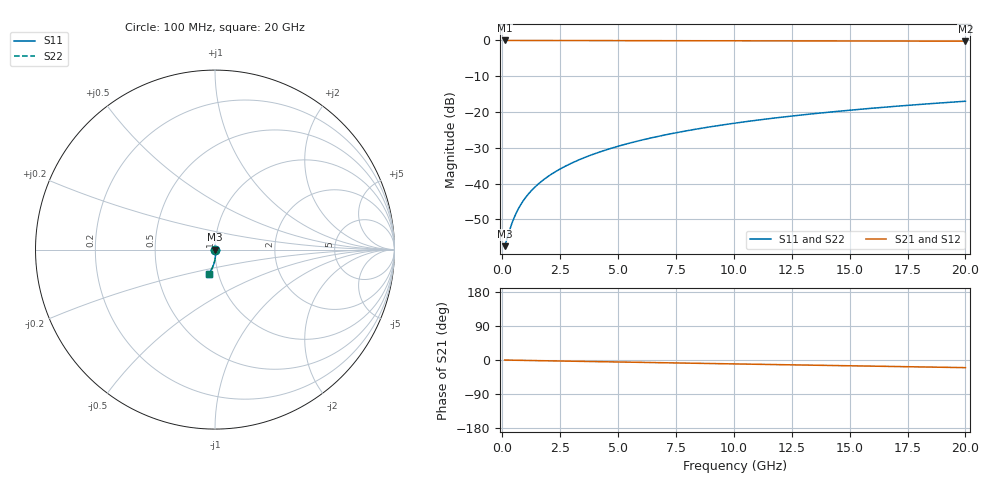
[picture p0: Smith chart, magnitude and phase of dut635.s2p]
! Touchstone file exported from HFSS 2026.1.0
!  File:  C:/ffzhzh/LocalFiles/Ansys_Project_Files/temp_train_TMRDL_635_1783009238_51716.aedt
!  Generated:  12:21:48 AM Jul  3, 2026
!  Design:  TMRDL
!  Project:  temp_train_TMRDL_635_1783009238_51716
! Variables:
!  h_bsmrdl = 2um
!  h_ox = 20um
!  h_rdl = 5um
!  h_sub = 80um
!  h_tmrdl = 4.56um
!  h_tsv = 80um
!  h_via = 3um
!  l_bsmrdl = 300um
!  l_sub = 721.24um
!  l_tmrdl = 321.24um
!  m_sub = 200um
!  pitch = 25.38um
!  r_tsv = 6um
!  s_tmrdl = 10um
!  w_bsmrdl = 18um
!  w_sub = 500um
!  w_tmrdl = 23.7um
!  x_tsv_center1 = 333.09um
!  x_tsv_center2 = 651.09um
!  x_tsv_center3 = 996.03um
!  x_tsv_center4 = 1314.03um
!  x_tsv_center5 = 1658.97um
!  x_tsv_center6 = 1976.97um
# GHz S MA R 50.000000
! Terminal data exported
! Port[1] = TM_RDL1_1_T1
! Port[2] = TM_RDL1_1_T2
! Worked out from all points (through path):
!   200 points, 100 MHz to 20 GHz, reference 50 ohm
!   highest |S21| = -0.01 dB at 100 MHz (marker M1); lowest = -0.2 dB at 20 GHz (marker M2)
!   group delay of S21, straight-line fit = 2.79 ps
!   lowest |S11| = -57.5 dB at 100 MHz (marker M3), VSWR 1.00, Z = 50.1 - j0.0226 ohm
!   |S11| at or under -10 dB: start of sweep to end of sweep
!   |S22| runs from -57.5 to -17.0 dB; largest |S21 - S12| = 5.1e-15
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0.1  0.001333 -9.7  0.9987 -0.1  0.9987 -0.1  0.001333 -9.7
! Gamma 0 0 0 0
! Port Impedance 50 0 50 0
0.4  0.002689 -39.8  0.9979 -0.5  0.9979 -0.5  0.002689 -39.8
0.5  0.003267 -46.8  0.9977 -0.6  0.9977 -0.6  0.003267 -46.8
0.6  0.003864 -52.3  0.9976 -0.7  0.9976 -0.7  0.003865 -52.3
0.7  0.004473 -56.6  0.9975 -0.8  0.9975 -0.8  0.004474 -56.6
0.9  0.005711 -63.0  0.9973 -1.0  0.9973 -1.0  0.005711 -63.0
1.2  0.007594 -69.1  0.9971 -1.3  0.9971 -1.3  0.007594 -69.1
1.4  0.008862 -71.8  0.997 -1.5  0.997 -1.5  0.008863 -71.8
1.7  0.01078 -74.7  0.9968 -1.8  0.9968 -1.8  0.01078 -74.7
2.2  0.01402 -77.9  0.9964 -2.4  0.9964 -2.4  0.01403 -77.9
2.8  0.01799 -80.3  0.9959 -3.0  0.9959 -3.0  0.01799 -80.3
3.5  0.02272 -82.3  0.9952 -3.7  0.9952 -3.7  0.02272 -82.3
4.2  0.02755 -83.8  0.9945 -4.5  0.9945 -4.5  0.02756 -83.8
5  0.03318 -85.3  0.9937 -5.3  0.9937 -5.3  0.03318 -85.3
5.9  0.03961 -86.8  0.9927 -6.2  0.9927 -6.2  0.03961 -86.8
6.8  0.04611 -88.2  0.9918 -7.1  0.9918 -7.1  0.04612 -88.1
8.3  0.05705 -90.3  0.9901 -8.6  0.9901 -8.6  0.05705 -90.3
10.1  0.07022 -92.8  0.9882 -10.4  0.9882 -10.4  0.07023 -92.8
11.7  0.08191 -94.9  0.9863 -12.0  0.9863 -12.0  0.08192 -94.8
13.4  0.09428 -97.0  0.9843 -13.7  0.9843 -13.7  0.09429 -96.9
16.7  0.118 -100.9  0.9802 -16.9  0.9802 -16.9  0.118 -100.8
20  0.1413 -104.6  0.9756 -20.2  0.9756 -20.2  0.1413 -104.5
